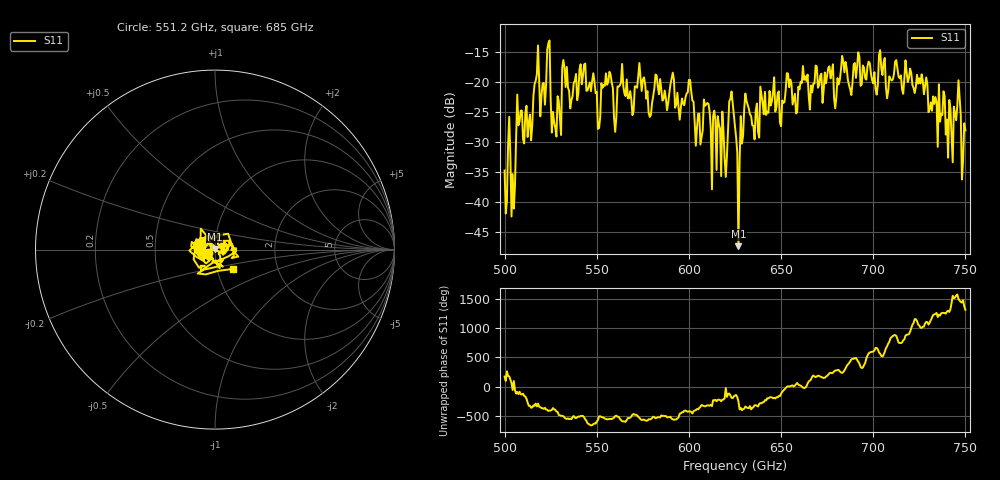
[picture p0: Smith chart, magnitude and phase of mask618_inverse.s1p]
!Created with skrf (http://scikit-rf.org).
# GHz S MA R 50.0
!freq magS11 angS11
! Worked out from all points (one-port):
!   401 points, 500 GHz to 750 GHz, reference 50 ohm
!   lowest |S11| = -47.4 dB at 626.9 GHz (marker M1), VSWR 1.01, Z = 49.9 + j0.417 ohm
!   |S11| at or under -10 dB: start of sweep to end of sweep
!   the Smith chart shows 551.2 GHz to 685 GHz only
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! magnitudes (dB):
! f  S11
! 500 GHz  -34.8
! 505 GHz  -41.1
! 507.5 GHz  -27.2
! 513.8 GHz  -25.5
! 517.5 GHz  -18.8
! 520.6 GHz  -20.3
! 523.8 GHz  -13.6
! 526.9 GHz  -26.7
! 531.2 GHz  -17.7
! 542.5 GHz  -19.1
! 550.6 GHz  -27.8
! 562.5 GHz  -20.6
! 593.8 GHz  -21.8
! 600 GHz  -19.7
! 605 GHz  -25.3
! 609.4 GHz  -23.8
! 618.8 GHz  -28.2
! 622.5 GHz  -22.9
! 625 GHz  -27.5
! 626.9 GHz  -47.4
! 631.2 GHz  -23.2
! 636.9 GHz  -23.6
! 656.2 GHz  -23.8
! 687.5 GHz  -21.2
! 718.8 GHz  -20.1
! 741.9 GHz  -24.5
! 746.2 GHz  -19.7
! 750 GHz  -28.1
